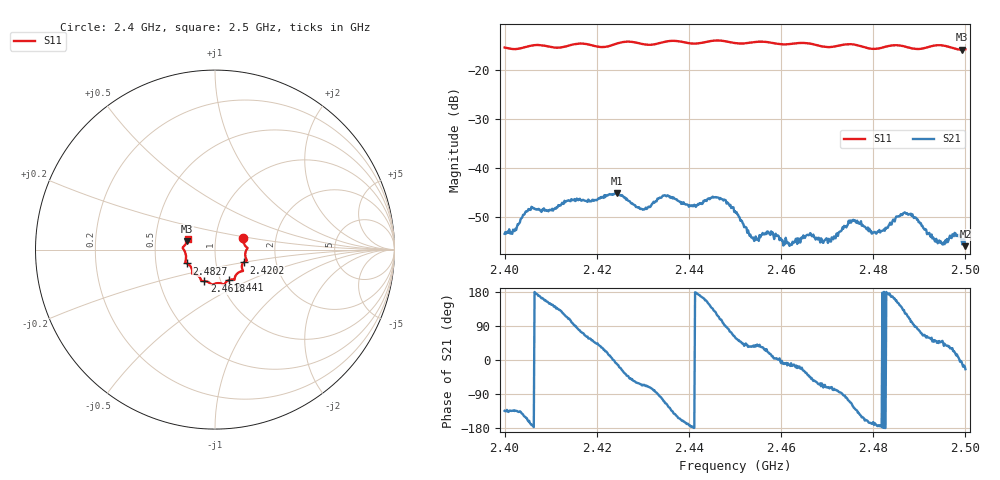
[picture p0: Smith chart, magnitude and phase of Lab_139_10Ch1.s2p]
# Hz S RI R 50
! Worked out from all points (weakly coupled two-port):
!   601 points, 2.4 GHz to 2.5 GHz, reference 50 ohm
!   highest |S21| = -45.11 dB at 2.4243 GHz (marker M1); lowest = -56.0 dB at 2.5 GHz (marker M2)
!   lowest |S11| = -15.8 dB at 2.4992 GHz (marker M3), VSWR 1.39, Z = 36.4 + j3.62 ohm
!   |S11| at or under -10 dB: start of sweep to end of sweep
!   S12 and S22 are empty: the file has one direction only
!   S11 on the Smith chart (normalised r, x): 2.4 GHz: 1.36, +0.18; 2.4202 GHz: 1.36, -0.20; 2.441 GHz: 1.10, -0.39; 2.4618 GHz: 0.84, -0.30; 2.4827 GHz: 0.72, -0.11; 2.5 GHz: 0.73, +0.09
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2.4e9  0.1586 0.0628  -0.00147 -0.00152  0 0  0 0
2.405667e9  0.1777 0.0116  -0.00366 -0.000728  0 0  0 0
2.416667e9  0.1774 -0.0608  0.00132 0.00443  0 0  0 0
2.420167e9  0.159 -0.0716  0.00344 0.0033  0 0  0 0
2.424333e9  0.1522 -0.1093  0.00547 -0.000949  0 0  0 0
2.429833e9  0.1384 -0.1236  0.00147 -0.00349  0 0  0 0
2.433333e9  0.1118 -0.1509  -6.95e-05 -0.00481  0 0  0 0
2.441e9  0.0786 -0.1698  -0.00407 -6.12e-05  0 0  0 0
2.446e9  0.0498 -0.1952  -0.00254 0.00428  0 0  0 0
2.45e9  0.0287 -0.1875  0.00181 0.00313  0 0  0 0
2.453833e9  -0.00634 -0.1927  0.00155 0.00111  0 0  0 0
2.4575e9  -0.0223 -0.1911  0.00203 0.000592  0 0  0 0
2.461833e9  -0.0591 -0.1755  0.00155 -0.000367  0 0  0 0
2.466667e9  -0.0789 -0.1683  0.00134 -0.00149  0 0  0 0
2.470667e9  -0.1008 -0.1403  0.000497 -0.00169  0 0  0 0
2.4755e9  -0.1277 -0.1326  -0.00145 -0.00247  0 0  0 0
2.482667e9  -0.156 -0.0771  -0.00244 -3.21e-05  0 0  0 0
2.483333e9  -0.1602 -0.075  -0.00255 0.000322  0 0  0 0
2.487e9  -0.1633 -0.0602  -0.00182 0.00293  0 0  0 0
2.493667e9  -0.1796 0.00813  0.00121 0.00144  0 0  0 0
2.499167e9  -0.1548 0.0483  0.00184 -0.000154  0 0  0 0
2.5e9  -0.1522 0.0602  0.00144 -0.000649  0 0  0 0
